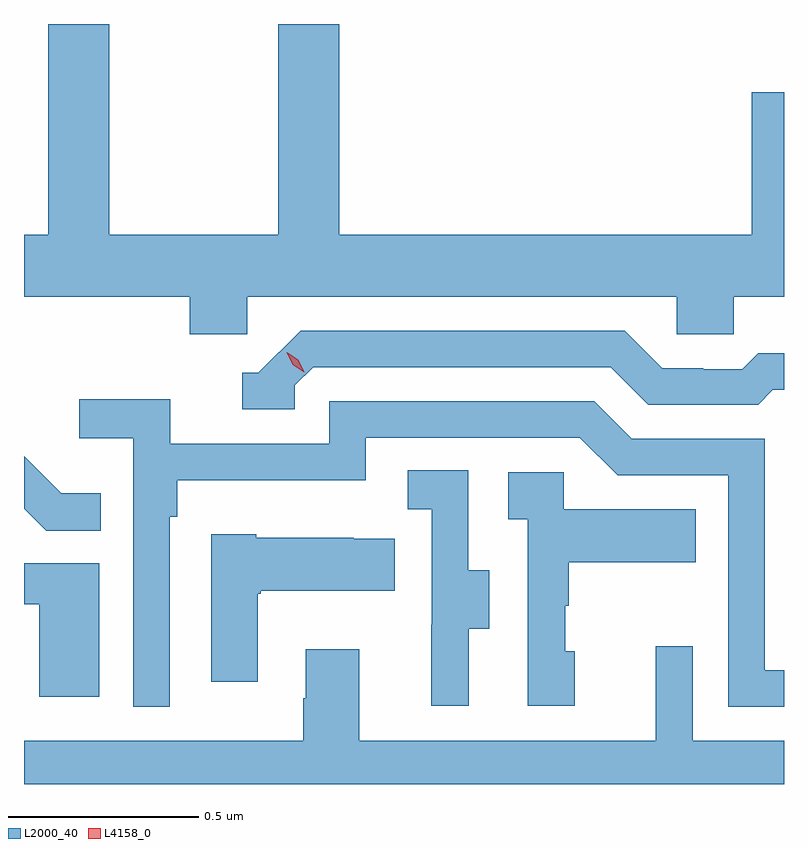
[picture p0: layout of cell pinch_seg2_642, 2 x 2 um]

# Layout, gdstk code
import gdstk
lib = gdstk.Library(unit=1e-6, precision=1e-09)
def P(c, l, *ps):  # polygons
    for p in ps: c.add(gdstk.Polygon(p, *l))
L2000_40 = (2000, 40)
L4158_0 = (4158, 0)

pinch_seg2_642 = lib.new_cell('pinch_seg2_642')
P(pinch_seg2_642, L2000_40, [(1026.816,618.332),(1027.947,618.332),(1027.947,618.234),(1028.097,618.234),(1028.097,618.332),(1028.229,618.332),(1028.229,618.871),(1028.144,618.871),(1028.144,618.496),(1027.058,618.496),(1027.058,619.05),(1026.898,619.05),(1026.898,618.496),(1026.453,618.496),(1026.453,619.05),(1026.293,619.05),(1026.293,618.496),(1026.229,618.496),(1026.229,618.332),(1026.665,618.332),(1026.665,618.234),(1026.816,618.234)],
  [(1026.942,618.099),(1026.99,618.147),(1027.773,618.147),(1027.872,618.048),(1028.161,618.048),(1028.2,618.087),(1028.229,618.087),(1028.229,618.184),(1028.161,618.184),(1028.119,618.141),(1028.016,618.141),(1028.016,618.144),(1027.909,618.144),(1027.81,618.243),(1026.957,618.243),(1026.846,618.132),(1026.803,618.132),(1026.803,618.036),(1026.942,618.036)],
  [(1026.612,617.753),(1026.632,617.753),(1026.632,617.849),(1027.128,617.849),(1027.128,617.961),(1027.692,617.961),(1027.791,617.862),(1028.082,617.862),(1028.082,617.253),(1028.229,617.253),(1028.229,617.349),(1028.178,617.349),(1028.178,617.958),(1027.828,617.958),(1027.729,618.057),(1027.032,618.057),(1027.032,617.946),(1026.614,617.946),(1026.614,618.062),(1026.375,618.062),(1026.375,617.96),(1026.516,617.96),(1026.516,617.253),(1026.612,617.253)],
  [(1026.431,617.815),(1026.327,617.815),(1026.229,617.913),(1026.229,617.774),(1026.287,617.716),(1026.431,617.716)],
  [(1027.399,617.458),(1027.453,617.458),(1027.453,617.613),(1027.398,617.613),(1027.398,617.876),(1027.239,617.876),(1027.239,617.773),(1027.302,617.773),(1027.302,617.469),(1027.301,617.469),(1027.301,617.256),(1027.399,617.256)],
  [(1027.678,617.4),(1027.653,617.4),(1027.653,617.519),(1027.663,617.519),(1027.663,617.633),(1027.997,617.633),(1027.997,617.773),(1027.65,617.773),(1027.65,617.871),(1027.503,617.871),(1027.503,617.747),(1027.554,617.747),(1027.554,617.256),(1027.678,617.256)],
  [(1026.844,617.551),(1026.852,617.551),(1026.852,617.558),(1027.205,617.558),(1027.205,617.695),(1027.097,617.695),(1027.097,617.698),(1026.84,617.698),(1026.84,617.707),(1026.722,617.707),(1026.722,617.319),(1026.844,617.319)],
  [(1026.427,617.631),(1026.229,617.631),(1026.229,617.523),(1026.269,617.523),(1026.269,617.28),(1026.427,617.28)],
  [(1028.229,617.164),(1027.989,617.164),(1027.989,617.413),(1027.892,617.413),(1027.892,617.164),(1027.111,617.164),(1027.111,617.404),(1026.971,617.404),(1026.971,617.276),(1026.964,617.276),(1026.964,617.164),(1026.229,617.164),(1026.229,617.05),(1028.229,617.05)])
P(pinch_seg2_642, L4158_0, [(1026.967,618.134),(1026.936,618.153),(1026.92,618.186),(1026.92,618.186),(1026.92,618.186),(1026.951,618.167),(1026.967,618.134),(1026.967,618.134)])

lib.write_gds('pinch_seg2_642.gds')
